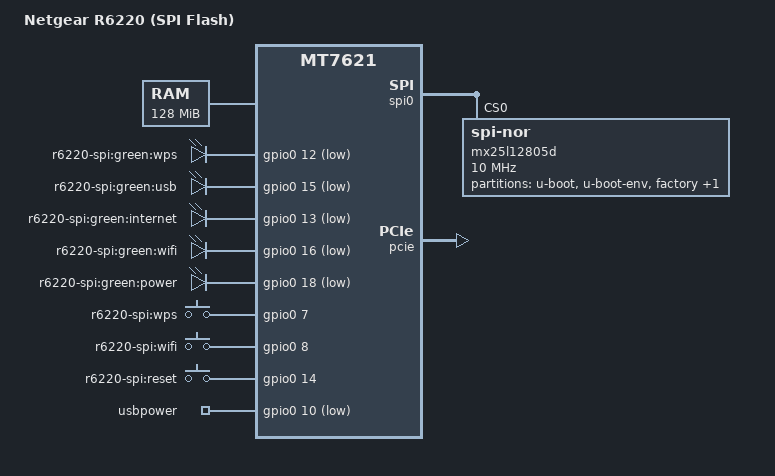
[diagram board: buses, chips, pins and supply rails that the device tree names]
/dts-v1/;

#include "mt7621.dtsi"

#include <dt-bindings/input/input.h>

/ {
	model = "Netgear R6220 (SPI Flash)";

	cpus {
		/delete-node/ cpu@1;
	};

	memory@0 {
		device_type = "memory";
		reg = <0x0 0x8000000>;
	};

	chosen {
		bootargs = "console=ttyS0,115200 maxcpus=2";
	};

	gpio-leds {
		compatible = "gpio-leds";

		wps {
			label = "r6220-spi:green:wps";
			gpios = <&gpio0 12 1>;
		};

		usb {
			label = "r6220-spi:green:usb";
			gpios = <&gpio0 15 1>;
		};

		internet {
			label = "r6220-spi:green:internet";
			gpios = <&gpio0 13 1>;
		};

		wifi {
			label = "r6220-spi:green:wifi";
			gpios = <&gpio0 16 1>;
		};

		power {
			label = "r6220-spi:green:power";
			gpios = <&gpio0 18 1>;
		};
	};

	gpio-keys-polled {
		compatible = "gpio-keys-polled";
		#address-cells = <1>;
		#size-cells = <0>;
		poll-interval = <20>;

		wps {
			label = "r6220-spi:wps";
			gpios = <&gpio0 7 0>;
			linux,code = <KEY_WPS_BUTTON>;
		};

		wifi {
			label = "r6220-spi:wifi";
			gpios = <&gpio0 8 0>;
			linux,code = <KEY_RFKILL>;
		};

		reset {
			label = "r6220-spi:reset";
			gpios = <&gpio0 14 0>;
			linux,code = <KEY_RESTART>;
		};
	};

	gpio_export {
		compatible = "gpio-export";
		#size-cells = <0>;

		usbpower {
			gpio-export,name = "usbpower";
			gpio-export,output = <1>;
			gpios = <&gpio0 10 1>;
		};
	};
};

&spi0 {
	status = "okay";

	mx25l12805d@0 {
		#address-cells = <1>;
		#size-cells = <1>;
		compatible = "jedec,spi-nor";
		reg = <0>;
		spi-max-frequency = <10000000>;
		m25p,chunked-io = <32>;

		partition@0 {
			label = "u-boot";
			reg = <0x0 0x30000>;
		};

		partition@30000 {
			label = "u-boot-env";
			reg = <0x30000 0x10000>;
			read-only;
		};

		factory: partition@f30000 {
			label = "factory";
			reg = <0xf30000 0x10000>;
		};

		partition@50000 {
			label = "firmware";
			reg = <0x50000 0xee0000>;
		};
	};
};

&pcie {
	status = "okay";

	pcie0 {
		mt76@0,0 {
			reg = <0x0000 0 0 0 0>;
			device_type = "pci";
			mediatek,mtd-eeprom = <&factory 0x8000>;
			mediatek,2ghz = <0>;
		};
	};

	pcie1 {
		mt76@1,0 {
			reg = <0x0000 0 0 0 0>;
			device_type = "pci";
			mediatek,mtd-eeprom = <&factory 0x0000>;
			mediatek,5ghz = <0>;
		};
	};
};

&ethernet {
	mtd-mac-address = <&factory 0x00000004>;
};

&pinctrl {
	state_default: pinctrl0 {
		gpio {
			ralink,group =  "rgmii2", "mdio", "wdt";
			ralink,function = "gpio";
		};
	};
};
